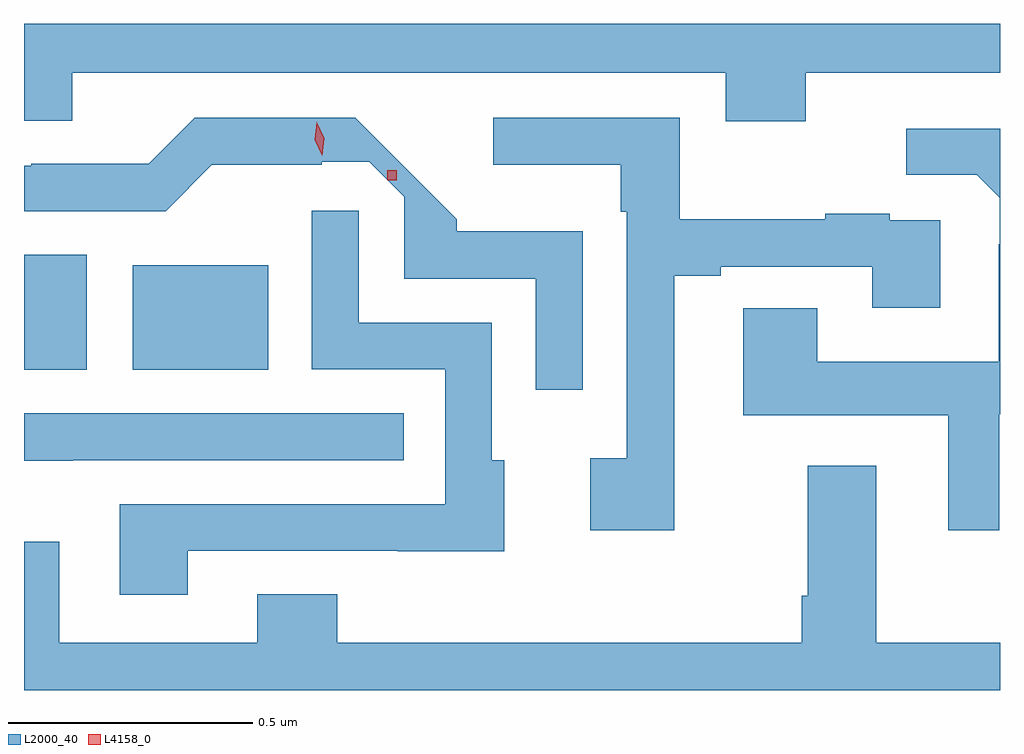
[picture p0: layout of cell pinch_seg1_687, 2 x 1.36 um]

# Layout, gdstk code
import gdstk
lib = gdstk.Library(unit=1e-6, precision=1e-09)
def R(c, l, rs):  # rectangles x0, y0, x1, y1
    for r in rs: c.add(gdstk.rectangle(r[:2], r[2:], *l))
def P(c, l, *ps):  # polygons
    for p in ps: c.add(gdstk.Polygon(p, *l))
L2000_40 = (2000, 40)
L4158_0 = (4158, 0)

pinch_seg1_687 = lib.new_cell('pinch_seg1_687')
R(pinch_seg1_687, L2000_40, [(768.379,583.091,768.508,583.327), (768.602,583.091,768.88,583.306)])
P(pinch_seg1_687, L2000_40, [(768.379,583.602),(768.478,583.602),(768.478,583.7),(769.817,583.7),(769.817,583.601),(769.981,583.601),(769.981,583.7),(770.379,583.7),(770.379,583.8),(768.379,583.8)],
  [(769.524,583.375),(769.266,583.375),(769.266,583.4),(769.058,583.608),(768.729,583.608),(768.635,583.514),(768.394,583.514),(768.394,583.509),(768.379,583.509),(768.379,583.416),(768.669,583.416),(768.764,583.511),(768.989,583.511),(768.989,583.518),(769.086,583.518),(769.158,583.446),(769.158,583.278),(769.428,583.278),(769.428,583.05),(769.524,583.05)],
  [(769.711,583.284),(769.807,583.284),(769.807,583.302),(770.117,583.302),(770.117,583.218),(770.257,583.218),(770.257,583.398),(770.153,583.398),(770.153,583.411),(770.021,583.411),(770.021,583.4),(769.723,583.4),(769.723,583.608),(769.341,583.608),(769.341,583.511),(769.602,583.511),(769.602,583.415),(769.614,583.415),(769.614,582.91),(769.539,582.91),(769.539,582.762),(769.711,582.762)],
  [(770.377,583),(770.379,583),(770.379,583.585),(770.187,583.585),(770.187,583.491),(770.331,583.491),(770.378,583.444),(770.378,583.349),(770.376,583.349),(770.376,583.108),(770.005,583.108),(770.005,583.217),(769.853,583.217),(769.853,582.998),(770.273,582.998),(770.273,582.762),(770.377,582.762)],
  [(768.715,582.72),(769.145,582.72),(769.145,582.719),(769.363,582.719),(769.363,582.906),(769.338,582.906),(769.338,583.188),(769.065,583.188),(769.065,583.417),(768.969,583.417),(768.969,583.092),(769.242,583.092),(769.242,582.816),(768.575,582.816),(768.575,582.63),(768.715,582.63)],
  [(768.479,582.906),(769.157,582.906),(769.157,583.002),(768.379,583.002),(768.379,582.905),(768.479,582.905)],
  [(770.379,582.532),(770.125,582.532),(770.125,582.895),(769.985,582.895),(769.985,582.628),(769.973,582.628),(769.973,582.532),(769.021,582.532),(769.021,582.631),(768.857,582.631),(768.857,582.532),(768.451,582.532),(768.451,582.739),(768.379,582.739),(768.379,582.435),(770.379,582.435)])
R(pinch_seg1_687, L4158_0, [(769.123,583.48,769.143,583.5)])
P(pinch_seg1_687, L4158_0, [(768.99,583.53),(768.99,583.53),(768.975,583.563),(768.979,583.599),(768.979,583.6),(768.979,583.599),(768.994,583.566),(768.99,583.53)])

lib.write_gds('pinch_seg1_687.gds')
